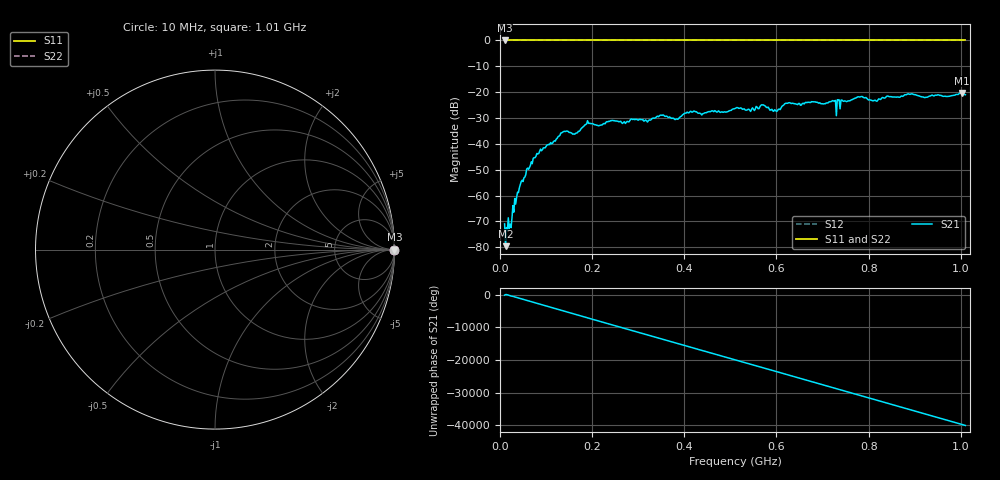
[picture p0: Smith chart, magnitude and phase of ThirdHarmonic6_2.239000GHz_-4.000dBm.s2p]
! 8/17/2025 2:36:18 AM
! C:\ANRITSUVNA\TEMP\TEMP.S2P
! CHANNEL.1
! TR.MEASUREMENT
! RAW.DATA
! RF.CORRECTION.OFF
! AVERAGING.OFF
! IF.BANDWIDTH: 5KHZ
! SWEEPTYPE:  FREQ.SWEEP(Linear)
! Reference Plane Port Info
! PORT:  PORT1  PORT2
! DISTANCE:  0  m  0  m
! TIME:  0  s  0  s
! PHASE.OFFSET:  0  deg.  0  deg.
! LOSS:  0  dB  0  dB
! REF.LOSS:  0  dB  0  dB
! REF.FREQ:  0  Hz  0  Hz
! Power Info
! POWER:  -20  dBm  -20  dBm
! EFF.POWER:  -20  dBm  -20  dBm
! SOURCE.ATTEN:  0  dB  0  dB
! TEST.ATTEN:  0  dB  0  dB
# GHZ S RI R 50.0
! FREQ.GHZ  S11RE  S11IM  S21RE  S21IM  S12RE  S12IM  S22RE  S22IM
!; PortSelection: Port_12
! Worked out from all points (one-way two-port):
!   501 points, 10 MHz to 1.01 GHz, reference 50 ohm
!   highest |S21| = -20.34 dB at 1.002 GHz (marker M1); lowest = -79.6 dB at 12 MHz (marker M2)
!   lowest |S11| = 0.0 dB at 10 MHz (marker M3)
!   |S11| at or under -10 dB: nowhere
!   |S22| runs from 0.0 to 0.0 dB; largest |S21 - S12| = 1.1
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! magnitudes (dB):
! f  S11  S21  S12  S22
! 10 MHz  0.0  -70.9  0.0  0.0
! 12 MHz  0.0  -79.6  0.0  0.0
! 24 MHz  0.0  -72.4  0.0  0.0
! 44 MHz  0.0  -55.8  0.0  0.0
! 76 MHz  0.0  -45.3  0.0  0.0
! 136 MHz  0.0  -35.5  0.0  0.0
! 162 MHz  0.0  -36.3  0.0  0.0
! 178 MHz  0.0  -33.8  0.0  0.0
! 344 MHz  0.0  -29.5  0.0  0.0
! 384 MHz  0.0  -30.4  0.0  0.0
! 410 MHz  0.0  -28.0  0.0  0.0
! 510 MHz  0.0  -26.3  0.0  0.0
! 570 MHz  0.0  -24.9  0.0  0.0
! 598 MHz  0.0  -27.0  0.0  0.0
! 622 MHz  0.0  -24.3  0.0  0.0
! 678 MHz  0.0  -23.7  0.0  0.0
! 734 MHz  0.0  -23.0  0.0  0.0
! 780 MHz  0.0  -21.9  0.0  0.0
! 814 MHz  0.0  -23.1  0.0  0.0
! 844 MHz  0.0  -21.7  0.0  0.0
! 1.002 GHz  0.0  -20.3  0.0  0.0
! 1.01 GHz  0.0  -21.0  0.0  0.0
